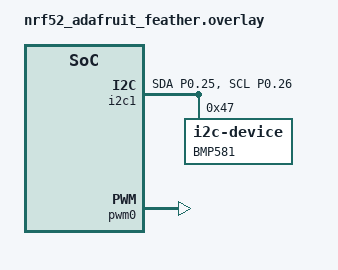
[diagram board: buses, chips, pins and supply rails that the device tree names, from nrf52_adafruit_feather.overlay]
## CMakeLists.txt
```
#
# Copyright (c) 2016 Intel Corporation
#
# SPDX-License-Identifier: Apache-2.0
#

cmake_minimum_required(VERSION 3.20.0)
find_package(Zephyr REQUIRED HINTS $ENV{ZEPHYR_BASE})
project(i2c_bmp581)

target_include_directories(app PRIVATE bmp5)

target_sources(app PRIVATE src/main.c)
target_sources(app PRIVATE src/bmp5.c)
target_sources(app PRIVATE src/bt-periph.c)
target_sources(app PRIVATE src/common.c)
```

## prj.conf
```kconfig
#
# Copyright (c) 2016 Intel Corporation
#
# SPDX-License-Identifier: Apache-2.0
#

CONFIG_NRFX_TWIM1=y
CONFIG_USE_SEGGER_RTT=y
CONFIG_I2C=y
CONFIG_LOG=y

# Floating Point Unit
CONFIG_FPU=y

#Higher resolution timestamp
CONFIG_LOG_TIMESTAMP_64BIT=y

#Enable Timing functions
CONFIG_TIMING_FUNCTIONS=y        

# Bluetooth LE
CONFIG_BT=y
CONFIG_BT_PERIPHERAL=y
CONFIG_BT_DEVICE_NAME="BMP581_SENSOR"
CONFIG_BT_GATT_CLIENT=y

# Configure your preferred connection parameters
CONFIG_BT_PERIPHERAL_PREF_MIN_INT=800
CONFIG_BT_PERIPHERAL_PREF_MAX_INT=800
CONFIG_BT_PERIPHERAL_PREF_LATENCY=0
CONFIG_BT_PERIPHERAL_PREF_TIMEOUT=400
CONFIG_BT_GAP_AUTO_UPDATE_CONN_PARAMS=y

# Update Data Length and MTU
CONFIG_BT_USER_DATA_LEN_UPDATE=y
CONFIG_BT_CTLR_DATA_LENGTH_MAX=251
CONFIG_BT_BUF_ACL_RX_SIZE=251
CONFIG_BT_BUF_ACL_TX_SIZE=251
CONFIG_BT_L2CAP_TX_MTU=247

# Enable PHY updates.
CONFIG_BT_USER_PHY_UPDATE=y

# Increase stack size for the main thread and System Workqueue
CONFIG_SYSTEM_WORKQUEUE_STACK_SIZE=2048
CONFIG_MAIN_STACK_SIZE=2048
CONFIG_BT_RX_STACK_SIZE=2048
```

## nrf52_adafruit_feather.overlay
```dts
// To get started, press Ctrl+Space to bring up the completion menu and view the available nodes.

// You can also use the buttons in the sidebar to perform actions on nodes.
// Actions currently available include:

// * Enabling / disabling the node
// * Adding the bus to a bus
// * Removing the node
// * Connecting ADC channels

// For more help, browse the DeviceTree documentation at https: //docs.zephyrproject.org/latest/guides/dts/index.html
// You can also visit the nRF DeviceTree extension documentation at https: //nrfconnect.github.io/vscode-nrf-connect/devicetree/nrfdevicetree.html


&i2c1 {
  bmp581: bmp581@47 {
    compatible = "i2c-device";
    reg = <0x47>;
    label = "BMP581";
  };

  pinctrl-0 = <&i2c1_default>;
  pinctrl-names = "default";
};

&pwm0 {
  status = "okay";
};


&pinctrl {
  i2c1_default: i2c1_default {
    group1 {
      psels = <NRF_PSEL(TWIM_SCL, 0, 26)>, <NRF_PSEL(TWIM_SDA, 0, 25)>;
    };
  };
};

&i2c1_default {
  group1 {
    psels = <NRF_PSEL(TWIM_SCL, 0, 26)>;
    bias-pull-up;
  };
};

&i2c1_default {
  group1 {
    psels = <NRF_PSEL(TWIM_SDA, 0, 25)>;
    bias-pull-up;

  };
};

&i2c0 {
  status = "disabled";
};
////##################
/*
&i2c1_default {
  group2 {
    psels = <NRF_PSEL(TWIM_SCL, 0, 26)>, <NRF_PSEL(TWIM_SDA, 0, 25)>;
  };
};
 */
&i2c1_default {
  group2 {
    psels = <NRF_PSEL(TWIM_SCL, 0, 26)>;
  };
};

&i2c1_default {
  group1 {
    psels = <NRF_PSEL(TWIM_SDA, 0, 25)>, <NRF_PSEL(TWIM_SCL, 0, 26)>;
  };
};
```

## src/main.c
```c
/*
 * Copyright (c) 2016 Intel Corporation
 *
 * SPDX-License-Identifier: Apache-2.0
 */

/*INCLUDES*/
#include "main.h"
#include "timestamp.h"
#include "bt-periph.h"
#include "bmp5.h"

#include <string.h>

#define NOTIFICATION_PERIOD_MS 200

struct bmp5_sensor_data sensor_data;
uint32_t pressure_data = 0;


/* packet_ts[20] = "1483228799" */
char frame_ts[20];
/* packet_sensor[9] = "101068" */
char frame_sensor[16];
/* Declare buffers for payload = "1483228799,101068\r\n" */
char frame_payload[40];
/*Variables for the frame -- Timestamp*/
uint32_t timestamp_ms = 0;


int main(void)
{
    struct bmp5_dev dev;
    struct bmp5_osr_odr_press_config osr_odr_press_cfg = {0};

    bluetooth_advertiser_init();

    int8_t bmp5_rslt;

    bmp5_rslt = bmp5_interface_init(&dev, BMP5_I2C_INTF);
    bmp5_error_codes_print_result("bmp5_interface_init", bmp5_rslt);

    if (bmp5_rslt == BMP5_OK)
    {

        bmp5_soft_reset(&dev);

        bmp5_rslt = bmp5_init(&dev);
        bmp5_error_codes_print_result("bmp5_init", bmp5_rslt);

        if (bmp5_rslt == BMP5_OK)
        {
            bmp5_rslt = set_config(&osr_odr_press_cfg, &dev);
            bmp5_error_codes_print_result("set_config", bmp5_rslt);
        }
    }

    while (1)
    {
        /* Get sensor data from the BMP581*/
        bmp5_rslt = get_sensor_data(&osr_odr_press_cfg, &dev);
        bmp5_error_codes_print_result("get_sensor_data", bmp5_rslt);

        /* Print the two frames
        printk("frame_sensor[%d]:%s\n\r", strlen(frame_sensor), frame_sensor);
        printk("frame_ts[%d]:%s\n\r", strlen(frame_ts), frame_ts);
        sprintf(frame_payload,"%s,%s\n\r", frame_ts, frame_sensor);
        printk("%s", frame_payload);
        */

        /* TODO: Add temperature notification on connect. using additional handle?*/
        my_lbs_send_sensor_notify(timestamp_ms);
        k_msleep(1);
        my_lbs_send_sensor_notify((uint32_t)sensor_data.pressure);
        k_msleep(NOTIFICATION_PERIOD_MS);
    }
    return 0;
}

static int8_t get_sensor_data(const struct bmp5_osr_odr_press_config *osr_odr_press_cfg, struct bmp5_dev *dev)
{
    int8_t rslt = 0;
    uint8_t int_status = 0x1;

    if (int_status & BMP5_INT_ASSERTED_DRDY)
    {
        /* Get Timestamp "*/
        timestamp_ms = k_uptime_get();
        /* New value for pressure in sensor_data.pressure and for temerature in sensor_data.temperature */    
        rslt = bmp5_get_sensor_data(&sensor_data, osr_odr_press_cfg, dev);
    }

    return rslt;
}

static int8_t set_config(struct bmp5_osr_odr_press_config *osr_odr_press_cfg, struct bmp5_dev *dev)
{
    int8_t rslt;
    struct bmp5_iir_config set_iir_cfg;
    struct bmp5_int_source_select int_source_select;

    rslt = bmp5_set_power_mode(BMP5_POWERMODE_STANDBY, dev);
    bmp5_error_codes_print_result("bmp5_set_power_mode1", rslt);

    if (rslt == BMP5_OK)
    {
        /* Get default odr */
        rslt = bmp5_get_osr_odr_press_config(osr_odr_press_cfg, dev);
        bmp5_error_codes_print_result("bmp5_get_osr_odr_press_config", rslt);

        if (rslt == BMP5_OK)
        {
            /* Enable pressure */
            osr_odr_press_cfg->press_en = BMP5_ENABLE;

            rslt = bmp5_set_osr_odr_press_config(osr_odr_press_cfg, dev);
            bmp5_error_codes_print_result("bmp5_set_osr_odr_press_config", rslt);
        }

        if (rslt == BMP5_OK)
        {
            set_iir_cfg.set_iir_t = BMP5_IIR_FILTER_COEFF_1;
            set_iir_cfg.set_iir_p = BMP5_IIR_FILTER_COEFF_1;
            set_iir_cfg.shdw_set_iir_t = BMP5_ENABLE;
            set_iir_cfg.shdw_set_iir_p = BMP5_ENABLE;

            rslt = bmp5_set_iir_config(&set_iir_cfg, dev);
            bmp5_error_codes_print_result("bmp5_set_iir_config", rslt);
        }

        if (rslt == BMP5_OK)
        {
            rslt = bmp5_configure_interrupt(BMP5_PULSED, BMP5_ACTIVE_HIGH, BMP5_INTR_PUSH_PULL, BMP5_INTR_ENABLE, dev);

            bmp5_error_codes_print_result("bmp5_configure_interrupt", rslt);

            if (rslt == BMP5_OK)
            {
                /* Note : Select INT_SOURCE after configuring interrupt */
                int_source_select.drdy_en = BMP5_ENABLE;
                rslt = bmp5_int_source_select(&int_source_select, dev);
                bmp5_error_codes_print_result("bmp5_int_source_select", rslt);
            }
        }

        /* Set powermode as continous */
        rslt = bmp5_set_power_mode(BMP5_POWERMODE_CONTINOUS, dev);
        bmp5_error_codes_print_result("bmp5_set_power_mode", rslt);
    }

    return rslt;
}
```

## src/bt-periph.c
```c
#include "bt-periph.h"

/*Prototype for BLE connection callbacks*/
static void on_connected(struct bt_conn *conn, uint8_t err);
static void on_disconnected(struct bt_conn *conn, uint8_t reason);
void on_le_param_updated(struct bt_conn *conn, uint16_t interval, uint16_t latency, uint16_t timeout);
void on_le_phy_updated(struct bt_conn *conn, struct bt_conn_le_phy_info *param);

static bool notify_mysensor_enabled;

#define DEVICE_NAME "BMP581"
#define DEVICE_NAME_LEN 6


/* Variable that holds callback for MTU negotiation */
static struct bt_gatt_exchange_params exchange_params;

/* Forward declaration of exchange_func(): */
static void exchange_func(struct bt_conn *conn, uint8_t att_err,
                          struct bt_gatt_exchange_params *params);

/*BLE Connection struct*/
struct bt_conn *my_conn = NULL;

/* ## GATT Server ## */
/* Define the configuration change callback function for the MYSENSOR characteristic */
static void mylbsbc_ccc_mysensor_cfg_changed(const struct bt_gatt_attr *attr, uint16_t value)
{
    notify_mysensor_enabled = (value == BT_GATT_CCC_NOTIFY);
}

/* GATT characteristic and service Declaration */
/* LED Button Service Declaration */
BT_GATT_SERVICE_DEFINE(
    my_lbs_svc, BT_GATT_PRIMARY_SERVICE(BT_UUID_LBS),
    /* Create and add the MYSENSOR characteristic and its CCCD  */
    BT_GATT_CHARACTERISTIC(BT_UUID_LBS_MYSENSOR, BT_GATT_CHRC_NOTIFY, BT_GATT_PERM_NONE, NULL,
                           NULL, NULL),
    BT_GATT_CCC(mylbsbc_ccc_mysensor_cfg_changed, BT_GATT_PERM_READ | BT_GATT_PERM_WRITE), 
);

/* Create an LE Advertising Parameters variable */
static struct bt_le_adv_param *adv_param = BT_LE_ADV_PARAM(
    (BT_LE_ADV_OPT_CONNECTABLE | BT_LE_ADV_OPT_USE_IDENTITY), /* Connectable advertising and use identity address */
    BT_GAP_ADV_FAST_INT_MIN_1,                                /* 0x30 units, 48 units, 30ms */
    BT_GAP_ADV_FAST_INT_MAX_1,                                /* 0x60 units, 96 units, 60ms */
    NULL);                                                    /* Set to NULL for undirected advertising */

/* Declare the advertising packet */
static volatile uint8_t mfg_data[] = {0x00, 0x00, 0xaa, 0xbb};

static const struct bt_data ad[] = {
    BT_DATA_BYTES(BT_DATA_FLAGS, BT_LE_AD_NO_BREDR),
    BT_DATA_BYTES(BT_DATA_UUID16_ALL, 0xaa, 0xfe),
    BT_DATA_BYTES(BT_DATA_SVC_DATA16,
                  0xaa, 0xfe, /* Eddystone UUID: See Eddystone protocol Specs */
                  /*https://github.com/google/eddystone/blob/master/protocol-specification.md*/
                  0x10, /* Eddystone-URL frame type */
                  0x00, /* Calibrated Tx power at 0m */
                  0x00, /* URL Scheme Prefix http://www. */
                  'z', 'e', 'p', 'h', 'y', 'r',
                  'p', 'r', 'o', 'j', 'e', 'c', 't',
                  0x08) /* .org */
};

/* Declare the scan response packet - Set Scan Response data */
static const struct bt_data sd[] = {
    BT_DATA(BT_DATA_NAME_COMPLETE, DEVICE_NAME, DEVICE_NAME_LEN),
};

/* Function to update the connection's PHY */
static void update_phy(struct bt_conn *conn)
{
    int err;
    const struct bt_conn_le_phy_param preferred_phy = {
        .options = BT_CONN_LE_PHY_OPT_NONE,
        .pref_rx_phy = BT_GAP_LE_PHY_2M,
        .pref_tx_phy = BT_GAP_LE_PHY_2M,
    };
    err = bt_conn_le_phy_update(conn, &preferred_phy);
    if (err)
    {
        printk("bt_conn_le_phy_update() returned %d\r\n", err);
    }
}

/* Function to update the connection's data length */
static void update_data_length(struct bt_conn *conn)
{
    int err;
    struct bt_conn_le_data_len_param my_data_len = {
        .tx_max_len = BT_GAP_DATA_LEN_MAX,
        .tx_max_time = BT_GAP_DATA_TIME_MAX,
    };
    err = bt_conn_le_data_len_update(my_conn, &my_data_len);
    if (err)
    {
        printk("data_len_update failed (err %d)\r\n", err);
    }
}

/* Function to update the connection's MTU */
static void update_mtu(struct bt_conn *conn)
{
    int err;
    exchange_params.func = exchange_func;

    err = bt_gatt_exchange_mtu(conn, &exchange_params);
    if (err)
    {
        printk("bt_gatt_exchange_mtu failed (err %d)\r\n", err);
    }
}

/* Implement the callback functions */
void on_connected(struct bt_conn *conn, uint8_t err)
{
    if (err)
    {
        printk("Connection error %d\n\r", err);
        return;
    }
    printk("Connected\n\r");
    /* Increase the connection counter*/
    my_conn = bt_conn_ref(conn);

    /* Declare a structure to store the connection parameters */
    struct bt_conn_info info;
    err = bt_conn_get_info(conn, &info);
    if (err)
    {
        printk("bt_conn_get_info() returned %d\n\r", err);
        return;
    }    

    /* Add the connection parameters to your log */
    double connection_interval = info.le.interval * 1.25; // in ms
    uint16_t supervision_timeout = info.le.timeout * 10;  // in ms
    printk("Connection parameters: interval %.2f ms, latency %d intervals, timeout %d ms\n\r",
           connection_interval, info.le.latency, supervision_timeout);

    /* Update the PHY mode */
    update_phy(my_conn);

    /* Update the data length and MTU */
    update_data_length(my_conn);
    update_mtu(my_conn);

    /* TODO: Turn the connection status LED on */
}

void on_disconnected(struct bt_conn *conn, uint8_t reason)
{
    printk("Disconnected. Reason %d\n\r", reason);
    bt_conn_unref(my_conn);

    /* TODO: Turn the connection status LED off */
}

/* Callback for connection parameter log */
void on_le_param_updated(struct bt_conn *conn, uint16_t interval, uint16_t latency, uint16_t timeout)
{
    double connection_interval = interval * 1.25; // in ms
    uint16_t supervision_timeout = timeout * 10;  // in ms

    printk("Connection parameters updated: interval %.2f ms, latency %d intervals, timeout %d ms\n\r", connection_interval, latency, supervision_timeout);
}

/* Callback function to log updates in the PHY */
void on_le_phy_updated(struct bt_conn *conn, struct bt_conn_le_phy_info *param)
{
    // PHY Updated
    if (param->tx_phy == BT_CONN_LE_TX_POWER_PHY_1M)
    {
        printk("PHY updated. New PHY: 1M\n\r");
    }
    else if (param->tx_phy == BT_CONN_LE_TX_POWER_PHY_2M)
    {
        printk("PHY updated. New PHY: 2M\n\r");
    }
    else if (param->tx_phy == BT_CONN_LE_TX_POWER_PHY_CODED_S8)
    {
        printk("PHY updated. New PHY: Long Range\n\r");
    }
}

/* Callback function to log updates in data length */
void on_le_data_len_updated(struct bt_conn *conn, struct bt_conn_le_data_len_info *info)
{
    uint16_t tx_len = info->tx_max_len;
    uint16_t tx_time = info->tx_max_time;
    uint16_t rx_len = info->rx_max_len;
    uint16_t rx_time = info->rx_max_time;
    printk("Data length updated. Length %d/%d bytes, time %d/%d us\r\n", tx_len, rx_len, tx_time, rx_time);
}

/* Declare the connection_callback structure */
struct bt_conn_cb connection_callbacks = {
    .connected = on_connected,
    .disconnected = on_disconnected,
    .le_param_updated = on_le_param_updated,
    .le_phy_updated = on_le_phy_updated,
    .le_data_len_updated = on_le_data_len_updated,
};

/* Implement callback function for MTU exchange */
static void exchange_func(struct bt_conn *conn, uint8_t att_err,
                          struct bt_gatt_exchange_params *params)
{
    printk("MTU exchange %s\r\n", att_err == 0 ? "successful" : "failed");
    if (!att_err)
    {
        uint16_t payload_mtu =
            bt_gatt_get_mtu(conn) - 3; // 3 bytes used for Attribute headers.
        printk("New MTU: %d bytes\r\n", payload_mtu);
    }
}

void bluetooth_advertiser_init()
{ /* Enable the Bluetooth LE stack */
    int bt_err;

    bt_conn_cb_register(&connection_callbacks);

    bt_err = bt_enable(NULL);
    if (bt_err)
    {
        printk("Bluetooth init failed (err %d)\n", bt_err);
        return;
    }
    printk("Bluetooth initialized\n");
    /* Start advertising */
    bt_err = bt_le_adv_start(adv_param, ad, ARRAY_SIZE(ad), sd, ARRAY_SIZE(sd));
    if (bt_err)
    {
        printk("Advertising failed to start (err %d)\n", bt_err);
        return;
    }
}


/* Define the function to send notifications for the MYSENSOR characteristic */
int my_lbs_send_sensor_notify(uint32_t* sensor_value)
{
    if (!notify_mysensor_enabled)
    {
        return -EACCES;
    }

    return bt_gatt_notify(NULL, &my_lbs_svc.attrs[2], &sensor_value, sizeof(sensor_value));
}
```

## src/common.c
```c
/**
 * Copyright (C) 2022 Bosch Sensortec GmbH. All rights reserved.
 *
 * SPDX-License-Identifier: BSD-3-Clause
 */

#include <stdint.h>
#include <stdlib.h>
#include <stdio.h>

#include <zephyr/devicetree.h>
#include <zephyr/device.h>
#include <zephyr/drivers/i2c.h>
#include <zephyr/logging/log.h>

#include "bmp5_defs.h"

/******************************************************************************/
/*!                         Macro definitions                                 */
#define BMP581 DT_NODELABEL(bmp581)

/******************************************************************************/
/*!                Static variable definition                                 */

/*! Variable that holds the I2C device address or SPI chip selection */
static const struct i2c_dt_spec i2c_dev = I2C_DT_SPEC_GET(BMP581);
static uint8_t dev_addr;

/******************************************************************************/
/*!                User interface functions                                   */

/*!
 * I2C read function map to COINES platform
 */
BMP5_INTF_RET_TYPE bmp5_i2c_read(uint8_t reg_addr, uint8_t *reg_data, uint32_t length, void *intf_ptr)
{
    int rc = 0;
        rc = i2c_burst_read_dt(&i2c_dev, reg_addr, reg_data, length);
        if (rc != 0)
        {
            printk("i2c_burst_read_dt error\r\n"); // attempt to recover bus if tx failed for any reason
        }
        return rc;
}

/*!
 * I2C write function map to COINES platform
 */
BMP5_INTF_RET_TYPE bmp5_i2c_write(uint8_t reg_addr, const uint8_t *reg_data, uint32_t length, void *intf_ptr)
{
    int rc = 0;
    
rc = i2c_burst_write_dt(&i2c_dev, reg_addr, reg_data, length);
        if (rc != 0)
        {
            printk("i2c_burst_write_dt error\r\n"); // attempt to recover bus if tx failed for any reason
        }
        return rc;
}


/*!
 * Delay function map to COINES platform
 */
void bmp5_delay_us(uint32_t period, void *intf_ptr)
{
    k_msleep((uint32_t)period / 1000);
}

/*!
 *  @brief Function to select the interface between SPI and I2C.
 */
int8_t bmp5_interface_init(struct bmp5_dev *bmp5_dev, uint8_t intf)
{
    int8_t rslt = BMP5_OK;
    //    int16_t result;

    if (bmp5_dev != NULL)
    {
        /* Bus configuration : I2C */
        if (intf == BMP5_I2C_INTF)
        {
            printk("I2C Interface\n");

            dev_addr = BMP5_I2C_ADDR_PRIM;
            bmp5_dev->read = bmp5_i2c_read;
            bmp5_dev->write = bmp5_i2c_write;
            bmp5_dev->intf = BMP5_I2C_INTF;
        }

        if (!device_is_ready(i2c_dev.bus))
        {
            printk("Board I2C: Device is not ready.\n");
            return -1;
        }

        k_msleep(100);
        /* Holds the I2C device addr or SPI chip selection */
        bmp5_dev->intf_ptr = &dev_addr;

        /* Configure delay in microseconds */
        bmp5_dev->delay_us = bmp5_delay_us;
    }
    else
    {
        rslt = BMP5_E_NULL_PTR;
    }
    return rslt;
}
```
